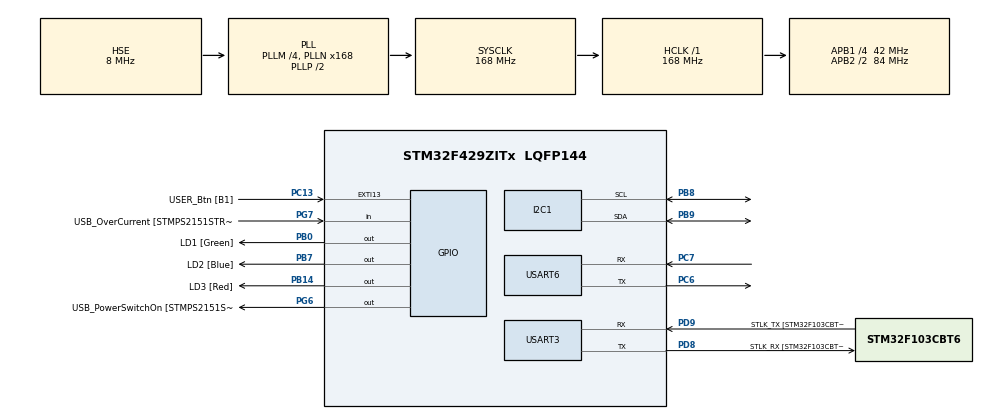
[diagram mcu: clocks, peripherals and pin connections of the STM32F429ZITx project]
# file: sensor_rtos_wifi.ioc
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FREERTOS.Tasks01=sensorTask_Init,24,128,sensorTask,Default,NULL,Dynamic,NULL,NULL
Mcu.Family=STM32F4
Mcu.Name=STM32F429ZITx
Mcu.Package=LQFP144
NVIC.I2C1_ER_IRQn=true\:5\:0\:false\:false\:true\:true\:true\:true\:true
NVIC.I2C1_EV_IRQn=true\:5\:0\:false\:false\:true\:true\:true\:true\:true
NVIC.PriorityGroup=NVIC_PRIORITYGROUP_4
PA13.GPIO_Label=TMS
PA13.Mode=Serial_Wire
PA13.Signal=SYS_JTMS-SWDIO
PA14.GPIO_Label=TCK
PA14.Mode=Serial_Wire
PA14.Signal=SYS_JTCK-SWCLK
PB0.GPIO_Label=LD1 [Green]
PB0.Signal=GPIO_Output
PB14.GPIO_Label=LD3 [Red]
PB14.Signal=GPIO_Output
PB7.GPIO_Label=LD2 [Blue]
PB7.Signal=GPIO_Output
PB8.Mode=I2C
PB8.Signal=I2C1_SCL
PB9.Mode=I2C
PB9.Signal=I2C1_SDA
PC13.GPIO_Label=USER_Btn [B1]
PC13.Signal=GPXTI13
PC14/OSC32_IN.Mode=LSE-External-Oscillator
PC14/OSC32_IN.Signal=RCC_OSC32_IN
PC15/OSC32_OUT.Mode=LSE-External-Oscillator
PC15/OSC32_OUT.Signal=RCC_OSC32_OUT
PC6.Mode=Asynchronous
PC6.Signal=USART6_TX
PC7.Mode=Asynchronous
PC7.Signal=USART6_RX
PD8.GPIO_Label=STLK_RX [STM32F103CBT6_PA3]
PD8.Mode=Asynchronous
PD8.Signal=USART3_TX
PD9.GPIO_Label=STLK_TX [STM32F103CBT6_PA2]
PD9.Mode=Asynchronous
PD9.Signal=USART3_RX
PG6.GPIO_Label=USB_PowerSwitchOn [STMPS2151STR_EN]
PG6.Signal=GPIO_Output
PG7.GPIO_Label=USB_OverCurrent [STMPS2151STR_FAULT]
PG7.Signal=GPIO_Input
PH0/OSC_IN.GPIO_Label=MCO [STM32F103CBT6_PA8]
PH0/OSC_IN.Mode=HSE-External-Clock-Source
PH0/OSC_IN.Signal=RCC_OSC_IN
PH1/OSC_OUT.Mode=HSE-External-Clock-Source
PH1/OSC_OUT.Signal=RCC_OSC_OUT
ProjectManager.HeapSize=0x200
ProjectManager.StackSize=0x400
ProjectManager.TargetToolchain=STM32CubeIDE
RCC.48MHZClocksFreq_Value=48000000
RCC.AHBFreq_Value=168000000
RCC.APB1CLKDivider=RCC_HCLK_DIV4
RCC.APB1Freq_Value=42000000
RCC.APB1TimFreq_Value=84000000
RCC.APB2CLKDivider=RCC_HCLK_DIV2
RCC.APB2Freq_Value=84000000
RCC.APB2TimCLKDivider=2
RCC.APB2TimFreq_Value=168000000
RCC.CortexFreq_Value=168000000
RCC.HCLKFreq_Value=168000000
RCC.HSE_VALUE=8000000
RCC.HSI_VALUE=16000000
RCC.PLLM=4
RCC.PLLMUL=RCC_PLL_MUL9
RCC.PLLN=168
RCC.PLLQ=7
RCC.PLLSourceVirtual=RCC_PLLSOURCE_HSE
RCC.PRESCALERUSB=RCC_USBCLKSOURCE_PLL_DIV1_5
RCC.SYSCLKFreq_VALUE=168000000
RCC.SYSCLKSource=RCC_SYSCLKSOURCE_PLLCLK
RCC.SYSCLKSourceVirtual=RCC_SYSCLKSOURCE_PLLCLK
RCC.USBFreq_Value=48000000
RCC.VCOOutputFreq_Value=336000000
USART3.VirtualMode=VM_ASYNC
USART6.VirtualMode=VM_ASYNC
VP_FREERTOS_VS_CMSIS_V2.Mode=CMSIS_V2
board=NUCLEO-F429ZI

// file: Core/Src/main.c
/* USER CODE BEGIN Header */
/**
  ******************************************************************************
  * @file           : main.c
  * @brief          : Main program body
  ******************************************************************************
  * @attention
  *
  * Copyright (c) 2025 STMicroelectronics.
  * All rights reserved.
  *
  * This software is licensed under terms that can be found in the LICENSE file
  * in the root directory of this software component.
  * If no LICENSE file comes with this software, it is provided AS-IS.
  *
  ******************************************************************************
  */
/* USER CODE END Header */
#include "main.h"
#include "cmsis_os.h"

/* USER CODE BEGIN PD */
#define QMC_ADDR 0x0D << 1

#define QMC_DATA 0x00
#define QMC_CON 0x09
#define QMC_SR 0x0B

/* USER CODE END PD */

/* USER CODE BEGIN PM */
char buf[256];

char wibuf[256];

uint8_t cwjap[] = "AT+CWJAP=\"ssid\",\"pw\"\r\n";

uint8_t tcp[] = "AT+CIPSTART=\"TCP\",\"yourwifiip\",5001\r\n";

uint8_t close[] = "AT+CIPCLOSE\r\n";

typedef struct{
	int16_t x;
	int16_t y;
	int16_t z;

	uint8_t qmc_data[6];
}QMC;

QMC Q;
/* USER CODE END PM */

I2C_HandleTypeDef hi2c1;

UART_HandleTypeDef huart3;
UART_HandleTypeDef huart6;

/* Definitions for sensorTask_Init */
osThreadId_t sensorTask_InitHandle;
const osThreadAttr_t sensorTask_Init_attributes = {
  .name = "sensorTask_Init",
  .stack_size = 128 * 4,
  .priority = (osPriority_t) osPriorityNormal,
};

void SystemClock_Config(void);
static void MX_GPIO_Init(void);
static void MX_USART3_UART_Init(void);
static void MX_I2C1_Init(void);
static void MX_USART6_UART_Init(void);
void sensorTask(void *argument);

/* USER CODE BEGIN 0 */
void QMC_Init(){
	uint8_t reset;

    reset = 0x1D;

    HAL_I2C_Mem_Write(&hi2c1,QMC_ADDR,QMC_CON,1,&reset,1,1000);

    reset = 0x01;

    HAL_I2C_Mem_Write(&hi2c1,QMC_ADDR,QMC_SR,1,&reset,1,1000);

}

void QMC_READ(QMC *Qd){
 uint8_t flag;
     HAL_I2C_Mem_Read(&hi2c1,QMC_ADDR,QMC_SR,1,&flag,1,1000);

     if(flag & 0x01){

    	 HAL_I2C_Mem_Read_IT(&hi2c1,QMC_ADDR,QMC_DATA,1,Qd->qmc_data,6);
     }
}
void HAL_I2C_MemRxCpltCallback(I2C_HandleTypeDef *hi2c)
{
	if(hi2c->Instance == I2C1){
		Q.x = (int16_t)(Q.qmc_data[0]<<8)|Q.qmc_data[1];
		Q.y = (int16_t)(Q.qmc_data[2]<<8)|Q.qmc_data[3];
		Q.z = (int16_t)(Q.qmc_data[4]<<8)|Q.qmc_data[5];
	}
}

/* USER CODE END 0 */

int main(void)
{

  /* MCU Configuration--------------------------------------------------------*/

  /* Reset of all peripherals, Initializes the Flash interface and the Systick. */
  HAL_Init();

  /* Configure the system clock */
  SystemClock_Config();

  /* Initialize all configured peripherals */
  MX_GPIO_Init();
  MX_USART3_UART_Init();
  MX_I2C1_Init();
  MX_USART6_UART_Init();

  /* Init scheduler */
  osKernelInitialize();

  /* Create the thread(s) */
  /* creation of sensorTask_Init */
  sensorTask_InitHandle = osThreadNew(sensorTask, NULL, &sensorTask_Init_attributes);

  /* Start scheduler */
  osKernelStart();

  /* We should never get here as control is now taken by the scheduler */

  /* Infinite loop */
  while (1)
  {

  }
}

void SystemClock_Config(void)
{
  RCC_OscInitTypeDef RCC_OscInitStruct = {0};
  RCC_ClkInitTypeDef RCC_ClkInitStruct = {0};

  /** Configure the main internal regulator output voltage
  */
  __HAL_RCC_PWR_CLK_ENABLE();
  __HAL_PWR_VOLTAGESCALING_CONFIG(PWR_REGULATOR_VOLTAGE_SCALE1);

  /** Initializes the RCC Oscillators according to the specified parameters
  * in the RCC_OscInitTypeDef structure.
  */
  RCC_OscInitStruct.OscillatorType = RCC_OSCILLATORTYPE_HSE;
  RCC_OscInitStruct.HSEState = RCC_HSE_BYPASS;
  RCC_OscInitStruct.PLL.PLLState = RCC_PLL_ON;
  RCC_OscInitStruct.PLL.PLLSource = RCC_PLLSOURCE_HSE;
  RCC_OscInitStruct.PLL.PLLM = 4;
  RCC_OscInitStruct.PLL.PLLN = 168;
  RCC_OscInitStruct.PLL.PLLP = RCC_PLLP_DIV2;
  RCC_OscInitStruct.PLL.PLLQ = 7;
  if (HAL_RCC_OscConfig(&RCC_OscInitStruct) != HAL_OK)
  {
    Error_Handler();
  }

  /** Initializes the CPU, AHB and APB buses clocks
  */
  RCC_ClkInitStruct.ClockType = RCC_CLOCKTYPE_HCLK|RCC_CLOCKTYPE_SYSCLK
                              |RCC_CLOCKTYPE_PCLK1|RCC_CLOCKTYPE_PCLK2;
  RCC_ClkInitStruct.SYSCLKSource = RCC_SYSCLKSOURCE_PLLCLK;
  RCC_ClkInitStruct.AHBCLKDivider = RCC_SYSCLK_DIV1;
  RCC_ClkInitStruct.APB1CLKDivider = RCC_HCLK_DIV4;
  RCC_ClkInitStruct.APB2CLKDivider = RCC_HCLK_DIV2;

  if (HAL_RCC_ClockConfig(&RCC_ClkInitStruct, FLASH_LATENCY_5) != HAL_OK)
  {
    Error_Handler();
  }
}

static void MX_I2C1_Init(void)
{

  hi2c1.Instance = I2C1;
  hi2c1.Init.ClockSpeed = 100000;
  hi2c1.Init.DutyCycle = I2C_DUTYCYCLE_2;
  hi2c1.Init.OwnAddress1 = 0;
  hi2c1.Init.AddressingMode = I2C_ADDRESSINGMODE_7BIT;
  hi2c1.Init.DualAddressMode = I2C_DUALADDRESS_DISABLE;
  hi2c1.Init.OwnAddress2 = 0;
  hi2c1.Init.GeneralCallMode = I2C_GENERALCALL_DISABLE;
  hi2c1.Init.NoStretchMode = I2C_NOSTRETCH_DISABLE;
  if (HAL_I2C_Init(&hi2c1) != HAL_OK)
  {
    Error_Handler();
  }

  /** Configure Analogue filter
  */
  if (HAL_I2CEx_ConfigAnalogFilter(&hi2c1, I2C_ANALOGFILTER_ENABLE) != HAL_OK)
  {
    Error_Handler();
  }

  /** Configure Digital filter
  */
  if (HAL_I2CEx_ConfigDigitalFilter(&hi2c1, 0) != HAL_OK)
  {
    Error_Handler();
  }

}

static void MX_USART3_UART_Init(void)
{

  huart3.Instance = USART3;
  huart3.Init.BaudRate = 115200;
  huart3.Init.WordLength = UART_WORDLENGTH_8B;
  huart3.Init.StopBits = UART_STOPBITS_1;
  huart3.Init.Parity = UART_PARITY_NONE;
  huart3.Init.Mode = UART_MODE_TX_RX;
  huart3.Init.HwFlowCtl = UART_HWCONTROL_NONE;
  huart3.Init.OverSampling = UART_OVERSAMPLING_16;
  if (HAL_UART_Init(&huart3) != HAL_OK)
  {
    Error_Handler();
  }

}

static void MX_USART6_UART_Init(void)
{

  huart6.Instance = USART6;
  huart6.Init.BaudRate = 115200;
  huart6.Init.WordLength = UART_WORDLENGTH_8B;
  huart6.Init.StopBits = UART_STOPBITS_1;
  huart6.Init.Parity = UART_PARITY_NONE;
  huart6.Init.Mode = UART_MODE_TX_RX;
  huart6.Init.HwFlowCtl = UART_HWCONTROL_NONE;
  huart6.Init.OverSampling = UART_OVERSAMPLING_16;
  if (HAL_UART_Init(&huart6) != HAL_OK)
  {
    Error_Handler();
  }

}

static void MX_GPIO_Init(void)
{
  GPIO_InitTypeDef GPIO_InitStruct = {0};

  /* GPIO Ports Clock Enable */
  __HAL_RCC_GPIOC_CLK_ENABLE();
  __HAL_RCC_GPIOH_CLK_ENABLE();
  __HAL_RCC_GPIOB_CLK_ENABLE();
  __HAL_RCC_GPIOD_CLK_ENABLE();
  __HAL_RCC_GPIOG_CLK_ENABLE();
  __HAL_RCC_GPIOA_CLK_ENABLE();

  /*Configure GPIO pin Output Level */
  HAL_GPIO_WritePin(GPIOB, LD1_Pin|LD3_Pin|LD2_Pin, GPIO_PIN_RESET);

  /*Configure GPIO pin Output Level */
  HAL_GPIO_WritePin(USB_PowerSwitchOn_GPIO_Port, USB_PowerSwitchOn_Pin, GPIO_PIN_RESET);

  /*Configure GPIO pin : USER_Btn_Pin */
  GPIO_InitStruct.Pin = USER_Btn_Pin;
  GPIO_InitStruct.Mode = GPIO_MODE_IT_RISING;
  GPIO_InitStruct.Pull = GPIO_NOPULL;
  HAL_GPIO_Init(USER_Btn_GPIO_Port, &GPIO_InitStruct);

  /*Configure GPIO pins : LD1_Pin LD3_Pin LD2_Pin */
  GPIO_InitStruct.Pin = LD1_Pin|LD3_Pin|LD2_Pin;
  GPIO_InitStruct.Mode = GPIO_MODE_OUTPUT_PP;
  GPIO_InitStruct.Pull = GPIO_NOPULL;
  GPIO_InitStruct.Speed = GPIO_SPEED_FREQ_LOW;
  HAL_GPIO_Init(GPIOB, &GPIO_InitStruct);

  /*Configure GPIO pin : USB_PowerSwitchOn_Pin */
  GPIO_InitStruct.Pin = USB_PowerSwitchOn_Pin;
  GPIO_InitStruct.Mode = GPIO_MODE_OUTPUT_PP;
  GPIO_InitStruct.Pull = GPIO_NOPULL;
  GPIO_InitStruct.Speed = GPIO_SPEED_FREQ_LOW;
  HAL_GPIO_Init(USB_PowerSwitchOn_GPIO_Port, &GPIO_InitStruct);

  /*Configure GPIO pin : USB_OverCurrent_Pin */
  GPIO_InitStruct.Pin = USB_OverCurrent_Pin;
  GPIO_InitStruct.Mode = GPIO_MODE_INPUT;
  GPIO_InitStruct.Pull = GPIO_NOPULL;
  HAL_GPIO_Init(USB_OverCurrent_GPIO_Port, &GPIO_InitStruct);

}

void sensorTask(void *argument)
{
  /* USER CODE BEGIN 5 */
	  QMC_Init();

	HAL_UART_Transmit(&huart6,cwjap,strlen((char*)cwjap),100);
	osDelay(5000);

  /* Infinite loop */
  for(;;)
  {
	  HAL_UART_Transmit(&huart6,tcp,strlen((char*)tcp),100);
	  osDelay(1000);
	  QMC_READ(&Q);
      osDelay(10);
    sprintf(wibuf,"GET /test?data=%d,%d,%d HTTP/1.1\r\nHost:yourwifiip\r\nConnection: close\r\n\r\n",Q.x,Q.y,Q.z);

    sprintf(buf, "AT+CIPSEND=%d\r\n", strlen(wibuf));
    HAL_UART_Transmit(&huart6,(uint8_t*)buf,strlen(buf),100);
    osDelay(300);
    HAL_UART_Transmit(&huart6,(uint8_t*)wibuf,strlen(wibuf),100);
    osDelay(300);
    HAL_UART_Transmit(&huart6,close,strlen((char*)close),100);
    osDelay(300);

  }
  /* USER CODE END 5 */
}

void Error_Handler(void)
{
  __disable_irq();
  while (1)
  {
  }
}
